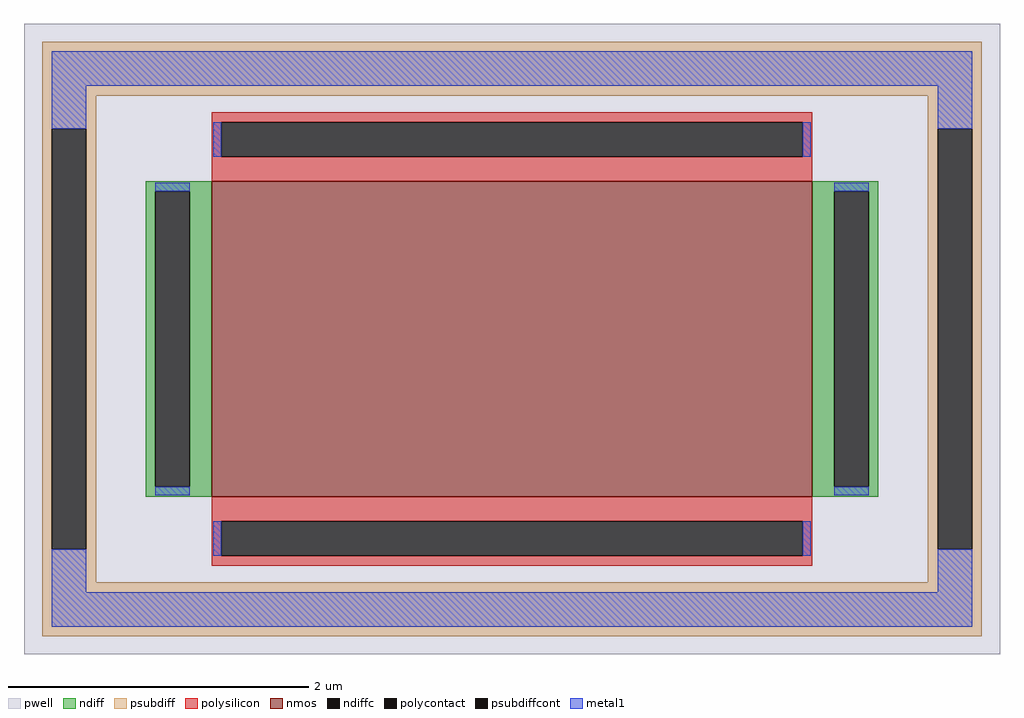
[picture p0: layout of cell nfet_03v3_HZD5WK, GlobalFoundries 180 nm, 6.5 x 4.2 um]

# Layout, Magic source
magic
tech gf180mcuD
magscale 1 10
<< pwell >>
rect -650 -420 650 420
<< nmos >>
rect -400 -210 400 210
<< ndiff >>
rect -488 197 -400 210
rect -488 -197 -475 197
rect -429 -197 -400 197
rect -488 -210 -400 -197
rect 400 197 488 210
rect 400 -197 429 197
rect 475 -197 488 197
rect 400 -210 488 -197
<< ndiffc >>
rect -475 -197 -429 197
rect 429 -197 475 197
<< psubdiff >>
rect -626 324 626 396
rect -626 280 -554 324
rect -626 -280 -613 280
rect -567 -280 -554 280
rect 554 280 626 324
rect -626 -324 -554 -280
rect 554 -280 567 280
rect 613 -280 626 280
rect 554 -324 626 -280
rect -626 -396 626 -324
<< psubdiffcont >>
rect -613 -280 -567 280
rect 567 -280 613 280
<< polysilicon >>
rect -400 289 400 302
rect -400 243 -387 289
rect 387 243 400 289
rect -400 210 400 243
rect -400 -243 400 -210
rect -400 -289 -387 -243
rect 387 -289 400 -243
rect -400 -302 400 -289
<< polycontact >>
rect -387 243 387 289
rect -387 -289 387 -243
<< metal1 >>
rect -613 337 613 383
rect -613 280 -567 337
rect -398 243 -387 289
rect 387 243 398 289
rect 567 280 613 337
rect -475 197 -429 208
rect -475 -208 -429 -197
rect 429 197 475 208
rect 429 -208 475 -197
rect -613 -337 -567 -280
rect -398 -289 -387 -243
rect 387 -289 398 -243
rect 567 -337 613 -280
rect -613 -383 613 -337
<< properties >>
string FIXED_BBOX -590 -360 590 360
string gencell nfet_03v3
string library gf180mcu
string parameters w 2.1 l 4.0 m 1 nf 1 diffcov 100 polycov 100 guard 1 glc 1 grc 1 gtc 0 gbc 0 tbcov 100 rlcov 100 topc 1 botc 1 poverlap 0 doverlap 1 lmin 0.28 wmin 0.22 full_metal 1 compatible {nfet_03v3 nfet_06v0 nfet_06v0_nvt}
<< end >>
